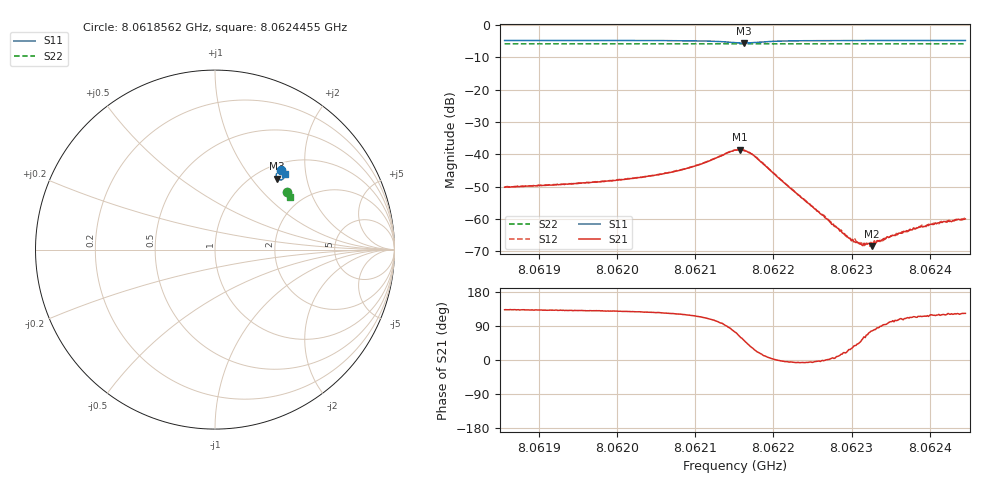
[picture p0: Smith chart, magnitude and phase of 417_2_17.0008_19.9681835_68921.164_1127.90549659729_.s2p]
#  HZ  S  RI  R  50.00
! Rohde & Schwarz Vector Network Analyzer
! Rohde-Schwarz,ZNB20-2Port,1311601062101988,3.16
! Created: UTC 3/20/2024, 11:10:48 PM
! freq[Hz]  re:S11  im:S11  re:S21  im:S21  re:S12  im:S12  re:S22  im:S22
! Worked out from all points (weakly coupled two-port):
!   401 points, 8.0618562 GHz to 8.0624455 GHz, reference 50 ohm
!   highest |S21| = -38.54 dB at 8.0621568 GHz (marker M1); lowest = -68.3 dB at 8.0623262 GHz (marker M2)
!   lowest |S11| = -5.6 dB at 8.0621627 GHz (marker M3), VSWR 3.22, Z = 62.2 + j67.8 ohm
!   |S11| at or under -10 dB: nowhere
!   |S22| runs from -5.9 to -5.8 dB; largest |S21 - S12| = 0.00088
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8.06185624e9  0.3679 0.4433  -0.0021 0.00228  -0.00197 0.00244  0.3995 0.3204
8.06195495e9  0.3748 0.4371  -0.00234 0.00272  -0.00217 0.00287  0.4032 0.3152
8.06200799e9  0.379 0.4327  -0.00252 0.00319  -0.00235 0.00337  0.4052 0.3124
8.06205366e9  0.383 0.4273  -0.00279 0.00394  -0.00255 0.0042  0.407 0.31
8.06208165e9  0.3858 0.4219  -0.00294 0.00491  -0.00263 0.00512  0.4079 0.3085
8.06210522e9  0.3876 0.4147  -0.00284 0.00629  -0.00248 0.00652  0.4087 0.307
8.06215089e9  0.3654 0.388  0.00327 0.0111  0.00389 0.0109  0.409 0.3039
8.06215679e9  0.3559 0.3893  0.00543 0.0105  0.00599 0.0102  0.4086 0.3038
8.06216268e9  0.347 0.3948  0.00718 0.00888  0.00773 0.00858  0.4085 0.3039
8.06217594e9  0.3402 0.4146  0.00837 0.0042  0.0086 0.00372  0.409 0.3043
8.06220982e9  0.3591 0.4351  0.00399 -0.000173  0.004 -0.000398  0.4112 0.3034
8.0622496e9  0.3721 0.4345  0.00155 -0.000172  0.00155 -0.000253  0.4131 0.3011
8.06229675e9  0.3798 0.4314  0.000445 0.000235  0.000488 0.000188  0.4151 0.2987
8.06230264e9  0.3805 0.4309  0.000355 0.000263  0.000399 0.000226  0.4153 0.2983
8.06231443e9  0.3817 0.4301  0.000212 0.000322  0.000261 0.000282  0.4157 0.2977
8.06232621e9  0.3831 0.4293  8.8e-05 0.000372  0.000121 0.000381  0.416 0.2971
8.06234831e9  0.3853 0.4279  -8.95e-05 0.00051  -5.5e-05 0.000521  0.4168 0.2961
8.0623601e9  0.3862 0.4271  -0.00017 0.000578  -0.000118 0.000601  0.4174 0.2954
8.06237189e9  0.3871 0.4264  -0.000244 0.000605  -0.000194 0.000609  0.4177 0.2947
8.06238809e9  0.3885 0.4254  -0.000332 0.000698  -0.000263 0.000702  0.4182 0.2937
8.06241608e9  0.3905 0.4236  -0.000439 0.000768  -0.000413 0.0008  0.4194 0.2924
8.06244555e9  0.3925 0.4221  -0.000546 0.000837  -0.000503 0.000875  0.4204 0.291
